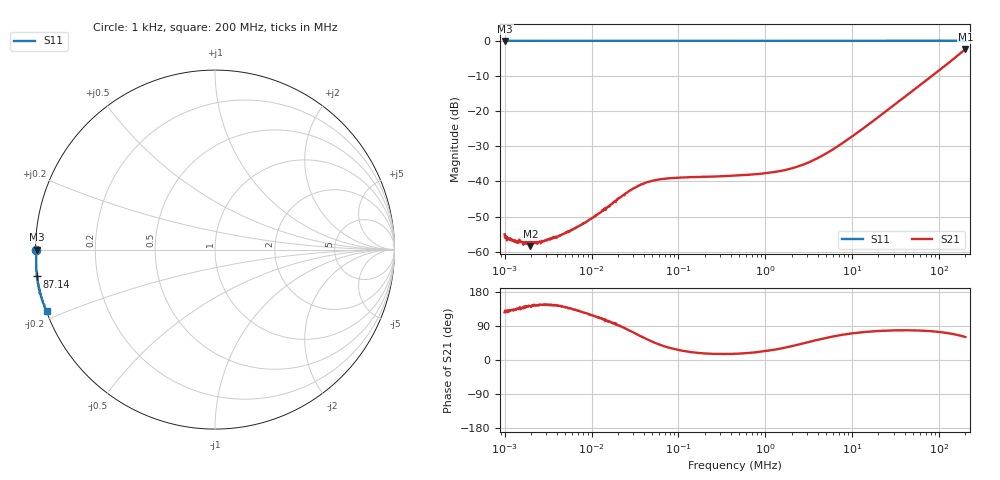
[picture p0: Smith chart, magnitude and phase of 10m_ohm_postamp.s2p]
! ListType=Log
# MHZ S RI R 50
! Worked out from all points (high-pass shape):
!   1000 points, 1 kHz to 200 MHz, reference 50 ohm
!   highest |S21| = -2.39 dB at 200 MHz (marker M1); lowest = -58.4 dB at 1.982 kHz (marker M2)
!   |S21| within 3 dB of the highest: 141.9 MHz to end of sweep
!   lowest |S11| = -0.1 dB at 1.012 kHz (marker M3), VSWR 335.37, Z = 0.149 - j0.0218 ohm
!   |S11| at or under -10 dB: nowhere
!   S12 and S22 are empty: the file has one direction only
!   S11 on the Smith chart (normalised r, x): 1 kHz: 0.00, -0.00; 87.14 MHz: -0.00, -0.07; 200 MHz: 0.00, -0.18
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0.001  -0.9957 -0.000278  -0.00104 0.00144  0 0  0 0
0.0010123  -0.9941 -0.000867  -0.00103 0.00121  0 0  0 0
0.0011162  -0.9952 0.0011  -0.000932 0.00121  0 0  0 0
0.0013408  -0.996 -0.000214  -0.000919 0.00102  0 0  0 0
0.0019822  -0.9952 -8.05e-05  -0.000949 0.000737  0 0  0 0
0.0027235  -0.9954 0.000179  -0.00113 0.000795  0 0  0 0
0.0042281  -0.9957 -4.52e-05  -0.00134 0.00101  0 0  0 0
0.0076941  -0.9956 -2.82e-05  -0.00147 0.00193  0 0  0 0
0.0122405  -0.9959 0.000163  -0.00132 0.00328  0 0  0 0
0.029144  -0.9957 -3.9e-06  0.00205 0.00745  0 0  0 0
0.0425643  -0.9956 7.55e-05  0.00545 0.00794  0 0  0 0
0.0584804  -0.9956 -5.05e-05  0.00792 0.00705  0 0  0 0
0.4499541  -0.9956 -0.000772  0.0116 0.00344  0 0  0 0
1.56464  -0.9955 -0.00269  0.0122 0.00736  0 0  0 0
2.370445  -0.9956 -0.00412  0.0124 0.0106  0 0  0 0
3.419952  -0.9956 -0.00614  0.0127 0.0149  0 0  0 0
7.475247  -0.9959 -0.0132  0.0139 0.0312  0 0  0 0
26.31347  -0.9962 -0.0455  0.0225 0.1041  0 0  0 0
50.28217  -0.996 -0.0866  0.0402 0.1926  0 0  0 0
87.1363  -0.9923 -0.1496  0.0844 0.3225  0 0  0 0
136.941  -0.9768 -0.238  0.1813 0.4827  0 0  0 0
200  -0.9384 -0.3443  0.3725 0.6617  0 0  0 0
